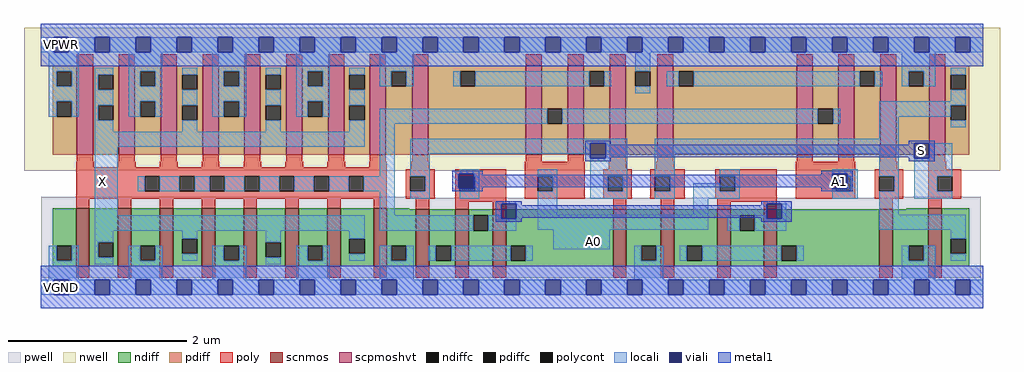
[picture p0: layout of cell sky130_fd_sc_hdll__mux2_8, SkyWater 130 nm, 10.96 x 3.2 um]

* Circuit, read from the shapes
.subckt sky130_fd_sc_hdll__mux2_8 A0 A1 S VGND VNB VPB VPWR X
XM1 X n1 VGND VNB sky130_fd_pr__nfet_01v8 w=0.65 l=0.15 m=8
XM2 n2 S VGND VNB sky130_fd_pr__nfet_01v8 w=0.64 l=0.15 m=2
XM3 n1 A1 n2 VNB sky130_fd_pr__nfet_01v8 w=0.64 l=0.15 m=2
XM4 n3 n4 VGND VNB sky130_fd_pr__nfet_01v8 w=0.64 l=0.15 m=2
XM5 n1 A0 n3 VNB sky130_fd_pr__nfet_01v8 w=0.64 l=0.15 m=2
XM6 n4 S VGND VNB sky130_fd_pr__nfet_01v8 w=0.65 l=0.15
XM7 X n1 VPWR VPB sky130_fd_pr__pfet_01v8_hvt w=1 l=0.18 m=8
XM8 n5 S VPWR VPB sky130_fd_pr__pfet_01v8_hvt w=1 l=0.18 m=2
XM9 n1 A0 n5 VPB sky130_fd_pr__pfet_01v8_hvt w=1 l=0.18 m=2
XM10 n6 n4 VPWR VPB sky130_fd_pr__pfet_01v8_hvt w=1 l=0.18 m=2
XM11 n1 A1 n6 VPB sky130_fd_pr__pfet_01v8_hvt w=1 l=0.18 m=2
XM12 n4 S VPWR VPB sky130_fd_pr__pfet_01v8_hvt w=1 l=0.18
.ends

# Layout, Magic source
magic
tech sky130A
magscale 1 2
<< nwell >>
rect -38 261 2154 582
<< pwell >>
rect 1 201 853 203
rect 1917 201 2111 203
rect 1 21 2111 201
rect 30 -17 64 21
<< scnmos >>
rect 79 47 109 177
rect 173 47 203 177
rect 267 47 297 177
rect 361 47 391 177
rect 455 47 485 177
rect 549 47 579 177
rect 643 47 673 177
rect 747 47 777 177
rect 842 47 872 175
rect 931 47 961 175
rect 1015 47 1045 175
rect 1285 47 1315 175
rect 1392 47 1422 175
rect 1519 47 1549 175
rect 1623 47 1653 175
rect 1883 47 1913 175
rect 1993 47 2023 177
<< scpmoshvt >>
rect 81 297 117 497
rect 175 297 211 497
rect 269 297 305 497
rect 363 297 399 497
rect 457 297 493 497
rect 551 297 587 497
rect 645 297 681 497
rect 739 297 775 497
rect 834 297 870 497
rect 1089 297 1125 497
rect 1183 297 1219 497
rect 1277 297 1313 497
rect 1384 297 1420 497
rect 1697 297 1733 497
rect 1791 297 1827 497
rect 1885 297 1921 497
rect 1995 297 2031 497
<< ndiff >>
rect 27 93 79 177
rect 27 59 35 93
rect 69 59 79 93
rect 27 47 79 59
rect 109 101 173 177
rect 109 67 129 101
rect 163 67 173 101
rect 109 47 173 67
rect 203 93 267 177
rect 203 59 223 93
rect 257 59 267 93
rect 203 47 267 59
rect 297 109 361 177
rect 297 75 317 109
rect 351 75 361 109
rect 297 47 361 75
rect 391 93 455 177
rect 391 59 411 93
rect 445 59 455 93
rect 391 47 455 59
rect 485 101 549 177
rect 485 67 505 101
rect 539 67 549 101
rect 485 47 549 67
rect 579 93 643 177
rect 579 59 599 93
rect 633 59 643 93
rect 579 47 643 59
rect 673 109 747 177
rect 673 75 693 109
rect 727 75 747 109
rect 673 47 747 75
rect 777 175 827 177
rect 1943 175 1993 177
rect 777 93 842 175
rect 777 59 787 93
rect 821 59 842 93
rect 777 47 842 59
rect 872 93 931 175
rect 872 59 887 93
rect 921 59 931 93
rect 872 47 931 59
rect 961 161 1015 175
rect 961 127 971 161
rect 1005 127 1015 161
rect 961 47 1015 127
rect 1045 93 1285 175
rect 1045 59 1055 93
rect 1089 59 1285 93
rect 1045 47 1285 59
rect 1315 93 1392 175
rect 1315 59 1348 93
rect 1382 59 1392 93
rect 1315 47 1392 59
rect 1422 93 1519 175
rect 1422 59 1451 93
rect 1485 59 1519 93
rect 1422 47 1519 59
rect 1549 161 1623 175
rect 1549 127 1569 161
rect 1603 127 1623 161
rect 1549 47 1623 127
rect 1653 93 1883 175
rect 1653 59 1663 93
rect 1697 59 1883 93
rect 1653 47 1883 59
rect 1913 93 1993 175
rect 1913 59 1949 93
rect 1983 59 1993 93
rect 1913 47 1993 59
rect 2023 109 2085 177
rect 2023 75 2043 109
rect 2077 75 2085 109
rect 2023 47 2085 75
<< pdiff >>
rect 27 485 81 497
rect 27 451 35 485
rect 69 451 81 485
rect 27 417 81 451
rect 27 383 35 417
rect 69 383 81 417
rect 27 297 81 383
rect 117 477 175 497
rect 117 443 129 477
rect 163 443 175 477
rect 117 409 175 443
rect 117 375 129 409
rect 163 375 175 409
rect 117 297 175 375
rect 211 485 269 497
rect 211 451 223 485
rect 257 451 269 485
rect 211 417 269 451
rect 211 383 223 417
rect 257 383 269 417
rect 211 297 269 383
rect 305 477 363 497
rect 305 443 317 477
rect 351 443 363 477
rect 305 409 363 443
rect 305 375 317 409
rect 351 375 363 409
rect 305 297 363 375
rect 399 485 457 497
rect 399 451 411 485
rect 445 451 457 485
rect 399 417 457 451
rect 399 383 411 417
rect 445 383 457 417
rect 399 297 457 383
rect 493 477 551 497
rect 493 443 505 477
rect 539 443 551 477
rect 493 409 551 443
rect 493 375 505 409
rect 539 375 551 409
rect 493 297 551 375
rect 587 485 645 497
rect 587 451 599 485
rect 633 451 645 485
rect 587 417 645 451
rect 587 383 599 417
rect 633 383 645 417
rect 587 297 645 383
rect 681 477 739 497
rect 681 443 693 477
rect 727 443 739 477
rect 681 409 739 443
rect 681 375 693 409
rect 727 375 739 409
rect 681 297 739 375
rect 775 485 834 497
rect 775 451 787 485
rect 821 451 834 485
rect 775 297 834 451
rect 870 485 1089 497
rect 870 451 942 485
rect 976 451 1089 485
rect 870 297 1089 451
rect 1125 401 1183 497
rect 1125 367 1137 401
rect 1171 367 1183 401
rect 1125 297 1183 367
rect 1219 485 1277 497
rect 1219 451 1231 485
rect 1265 451 1277 485
rect 1219 297 1277 451
rect 1313 485 1384 497
rect 1313 451 1335 485
rect 1369 451 1384 485
rect 1313 297 1384 451
rect 1420 485 1697 497
rect 1420 451 1432 485
rect 1466 451 1697 485
rect 1420 297 1697 451
rect 1733 401 1791 497
rect 1733 367 1745 401
rect 1779 367 1791 401
rect 1733 297 1791 367
rect 1827 485 1885 497
rect 1827 451 1839 485
rect 1873 451 1885 485
rect 1827 297 1885 451
rect 1921 485 1995 497
rect 1921 451 1949 485
rect 1983 451 1995 485
rect 1921 297 1995 451
rect 2031 477 2085 497
rect 2031 443 2043 477
rect 2077 443 2085 477
rect 2031 409 2085 443
rect 2031 375 2043 409
rect 2077 375 2085 409
rect 2031 297 2085 375
<< ndiffc >>
rect 35 59 69 93
rect 129 67 163 101
rect 223 59 257 93
rect 317 75 351 109
rect 411 59 445 93
rect 505 67 539 101
rect 599 59 633 93
rect 693 75 727 109
rect 787 59 821 93
rect 887 59 921 93
rect 971 127 1005 161
rect 1055 59 1089 93
rect 1348 59 1382 93
rect 1451 59 1485 93
rect 1569 127 1603 161
rect 1663 59 1697 93
rect 1949 59 1983 93
rect 2043 75 2077 109
<< pdiffc >>
rect 35 451 69 485
rect 35 383 69 417
rect 129 443 163 477
rect 129 375 163 409
rect 223 451 257 485
rect 223 383 257 417
rect 317 443 351 477
rect 317 375 351 409
rect 411 451 445 485
rect 411 383 445 417
rect 505 443 539 477
rect 505 375 539 409
rect 599 451 633 485
rect 599 383 633 417
rect 693 443 727 477
rect 693 375 727 409
rect 787 451 821 485
rect 942 451 976 485
rect 1137 367 1171 401
rect 1231 451 1265 485
rect 1335 451 1369 485
rect 1432 451 1466 485
rect 1745 367 1779 401
rect 1839 451 1873 485
rect 1949 451 1983 485
rect 2043 443 2077 477
rect 2043 375 2077 409
<< poly >>
rect 81 497 117 523
rect 175 497 211 523
rect 269 497 305 523
rect 363 497 399 523
rect 457 497 493 523
rect 551 497 587 523
rect 645 497 681 523
rect 739 497 775 523
rect 834 497 870 523
rect 1089 497 1125 523
rect 1183 497 1219 523
rect 1277 497 1313 523
rect 1384 497 1420 523
rect 1697 497 1733 523
rect 1791 497 1827 523
rect 1885 497 1921 523
rect 1995 497 2031 523
rect 81 282 117 297
rect 175 282 211 297
rect 269 282 305 297
rect 363 282 399 297
rect 457 282 493 297
rect 551 282 587 297
rect 645 282 681 297
rect 739 282 775 297
rect 834 282 870 297
rect 1089 282 1125 297
rect 1183 282 1219 297
rect 1277 282 1313 297
rect 1384 282 1420 297
rect 1697 282 1733 297
rect 1791 282 1827 297
rect 1885 282 1921 297
rect 1995 282 2031 297
rect 79 269 119 282
rect 173 269 213 282
rect 267 269 307 282
rect 361 269 401 282
rect 455 269 495 282
rect 549 269 589 282
rect 643 269 683 282
rect 737 269 777 282
rect 79 249 777 269
rect 832 265 872 282
rect 79 215 233 249
rect 267 215 311 249
rect 345 215 379 249
rect 413 215 457 249
rect 491 215 535 249
rect 569 215 613 249
rect 647 215 691 249
rect 725 215 777 249
rect 79 199 777 215
rect 819 249 884 265
rect 819 215 829 249
rect 863 215 884 249
rect 819 199 884 215
rect 931 249 1045 265
rect 931 215 941 249
rect 975 215 1045 249
rect 79 177 109 199
rect 173 177 203 199
rect 267 177 297 199
rect 361 177 391 199
rect 455 177 485 199
rect 549 177 579 199
rect 643 177 673 199
rect 747 177 777 199
rect 842 175 872 199
rect 931 192 1045 215
rect 1087 249 1221 282
rect 1275 265 1315 282
rect 1382 265 1422 282
rect 1087 215 1116 249
rect 1150 215 1221 249
rect 1087 199 1221 215
rect 1263 249 1327 265
rect 1263 215 1273 249
rect 1307 215 1327 249
rect 1263 199 1327 215
rect 1369 249 1446 265
rect 1369 215 1379 249
rect 1413 215 1446 249
rect 1369 199 1446 215
rect 1515 249 1653 265
rect 1515 215 1525 249
rect 1559 215 1653 249
rect 1515 199 1653 215
rect 1695 249 1829 282
rect 1883 265 1923 282
rect 1993 265 2033 282
rect 1695 215 1785 249
rect 1819 215 1829 249
rect 1695 199 1829 215
rect 1873 249 1937 265
rect 1873 215 1883 249
rect 1917 215 1937 249
rect 1873 199 1937 215
rect 1993 249 2067 265
rect 1993 215 2013 249
rect 2047 215 2067 249
rect 1993 199 2067 215
rect 931 175 961 192
rect 1015 175 1045 192
rect 1285 175 1315 199
rect 1392 175 1422 199
rect 1519 192 1653 199
rect 1519 175 1549 192
rect 1623 175 1653 192
rect 1883 175 1913 199
rect 1993 177 2023 199
rect 79 21 109 47
rect 173 21 203 47
rect 267 21 297 47
rect 361 21 391 47
rect 455 21 485 47
rect 549 21 579 47
rect 643 21 673 47
rect 747 21 777 47
rect 842 21 872 47
rect 931 21 961 47
rect 1015 21 1045 47
rect 1285 21 1315 47
rect 1392 21 1422 47
rect 1519 21 1549 47
rect 1623 21 1653 47
rect 1883 21 1913 47
rect 1993 21 2023 47
<< polycont >>
rect 233 215 267 249
rect 311 215 345 249
rect 379 215 413 249
rect 457 215 491 249
rect 535 215 569 249
rect 613 215 647 249
rect 691 215 725 249
rect 829 215 863 249
rect 941 215 975 249
rect 1116 215 1150 249
rect 1273 215 1307 249
rect 1379 215 1413 249
rect 1525 215 1559 249
rect 1785 215 1819 249
rect 1883 215 1917 249
rect 2013 215 2047 249
<< locali >>
rect 0 527 29 561
rect 63 527 121 561
rect 155 527 213 561
rect 247 527 305 561
rect 339 527 397 561
rect 431 527 489 561
rect 523 527 581 561
rect 615 527 673 561
rect 707 527 765 561
rect 799 527 857 561
rect 891 527 949 561
rect 983 527 1041 561
rect 1075 527 1133 561
rect 1167 527 1225 561
rect 1259 527 1317 561
rect 1351 527 1409 561
rect 1443 527 1501 561
rect 1535 527 1593 561
rect 1627 527 1685 561
rect 1719 527 1777 561
rect 1811 527 1869 561
rect 1903 527 1961 561
rect 1995 527 2053 561
rect 2087 527 2116 561
rect 18 485 85 527
rect 18 451 35 485
rect 69 451 85 485
rect 18 417 85 451
rect 18 383 35 417
rect 69 383 85 417
rect 121 477 163 493
rect 121 443 129 477
rect 121 409 163 443
rect 121 375 129 409
rect 197 485 273 527
rect 197 451 223 485
rect 257 451 273 485
rect 197 417 273 451
rect 197 383 223 417
rect 257 383 273 417
rect 317 477 351 493
rect 317 409 351 443
rect 121 349 163 375
rect 385 485 461 527
rect 385 451 411 485
rect 445 451 461 485
rect 385 417 461 451
rect 385 383 411 417
rect 445 383 461 417
rect 505 477 539 493
rect 505 409 539 443
rect 317 349 351 375
rect 573 485 649 527
rect 573 451 599 485
rect 633 451 649 485
rect 573 417 649 451
rect 573 383 599 417
rect 633 383 649 417
rect 693 477 727 493
rect 761 485 837 527
rect 1335 485 1369 527
rect 1933 485 2009 527
rect 761 451 787 485
rect 821 451 837 485
rect 926 451 942 485
rect 976 451 1231 485
rect 1265 451 1281 485
rect 1406 451 1432 485
rect 1466 451 1839 485
rect 1873 451 1889 485
rect 1933 451 1949 485
rect 1983 451 2009 485
rect 2043 477 2077 493
rect 693 409 727 443
rect 1335 435 1369 451
rect 2043 417 2077 443
rect 505 349 539 375
rect 1883 409 2077 417
rect 693 349 727 375
rect 121 315 727 349
rect 761 367 1137 401
rect 1171 367 1745 401
rect 1779 367 1795 401
rect 1883 383 2043 409
rect 121 161 173 315
rect 761 249 795 367
rect 1883 333 1927 383
rect 2043 359 2077 375
rect 217 215 233 249
rect 267 215 311 249
rect 345 215 379 249
rect 413 215 457 249
rect 491 215 535 249
rect 569 215 613 249
rect 647 215 691 249
rect 725 215 795 249
rect 761 161 795 215
rect 829 323 1317 333
rect 829 299 1234 323
rect 829 249 873 299
rect 1268 289 1317 323
rect 941 255 985 265
rect 863 215 873 249
rect 972 249 985 255
rect 829 199 873 215
rect 975 215 985 249
rect 941 199 985 215
rect 1116 249 1160 265
rect 1150 215 1160 249
rect 121 127 727 161
rect 761 127 971 161
rect 1005 153 1034 161
rect 1005 127 1068 153
rect 1116 163 1160 215
rect 1234 249 1317 289
rect 1234 215 1273 249
rect 1307 215 1317 249
rect 1234 199 1317 215
rect 1379 299 1927 333
rect 1379 249 1423 299
rect 1413 215 1423 249
rect 1525 249 1569 265
rect 1379 199 1423 215
rect 1465 215 1525 233
rect 1559 215 1569 249
rect 1465 199 1569 215
rect 1777 255 1834 265
rect 1811 249 1834 255
rect 1777 215 1785 221
rect 1819 215 1834 249
rect 1777 199 1834 215
rect 1883 249 1927 299
rect 1917 215 1927 249
rect 1465 163 1499 199
rect 1116 129 1499 163
rect 121 101 163 127
rect 18 59 35 93
rect 69 59 85 93
rect 18 17 85 59
rect 121 67 129 101
rect 317 109 351 127
rect 121 51 163 67
rect 197 59 223 93
rect 257 59 273 93
rect 505 101 539 127
rect 317 59 351 75
rect 385 59 411 93
rect 445 59 461 93
rect 197 17 273 59
rect 385 17 461 59
rect 693 109 727 127
rect 505 51 539 67
rect 573 59 599 93
rect 633 59 649 93
rect 693 59 727 75
rect 761 59 787 93
rect 821 59 837 93
rect 871 59 887 93
rect 921 59 1055 93
rect 1089 59 1105 93
rect 1151 85 1278 129
rect 1543 127 1569 161
rect 1603 153 1630 161
rect 1664 153 1674 187
rect 1603 127 1674 153
rect 1883 163 1927 215
rect 1995 289 2047 323
rect 1961 249 2047 289
rect 1961 215 2013 249
rect 1961 199 2047 215
rect 1883 129 2077 163
rect 2043 109 2077 129
rect 1332 59 1348 93
rect 1382 59 1398 93
rect 1435 59 1451 93
rect 1485 59 1663 93
rect 1697 59 1713 93
rect 1933 59 1949 93
rect 1983 59 2009 93
rect 2043 59 2077 75
rect 573 17 649 59
rect 761 17 837 59
rect 1332 17 1398 59
rect 1933 17 2009 59
rect 0 -17 29 17
rect 63 -17 121 17
rect 155 -17 213 17
rect 247 -17 305 17
rect 339 -17 397 17
rect 431 -17 489 17
rect 523 -17 581 17
rect 615 -17 673 17
rect 707 -17 765 17
rect 799 -17 857 17
rect 891 -17 949 17
rect 983 -17 1041 17
rect 1075 -17 1133 17
rect 1167 -17 1225 17
rect 1259 -17 1317 17
rect 1351 -17 1409 17
rect 1443 -17 1501 17
rect 1535 -17 1593 17
rect 1627 -17 1685 17
rect 1719 -17 1777 17
rect 1811 -17 1869 17
rect 1903 -17 1961 17
rect 1995 -17 2053 17
rect 2087 -17 2116 17
<< viali >>
rect 29 527 63 561
rect 121 527 155 561
rect 213 527 247 561
rect 305 527 339 561
rect 397 527 431 561
rect 489 527 523 561
rect 581 527 615 561
rect 673 527 707 561
rect 765 527 799 561
rect 857 527 891 561
rect 949 527 983 561
rect 1041 527 1075 561
rect 1133 527 1167 561
rect 1225 527 1259 561
rect 1317 527 1351 561
rect 1409 527 1443 561
rect 1501 527 1535 561
rect 1593 527 1627 561
rect 1685 527 1719 561
rect 1777 527 1811 561
rect 1869 527 1903 561
rect 1961 527 1995 561
rect 2053 527 2087 561
rect 1234 289 1268 323
rect 938 249 972 255
rect 938 221 941 249
rect 941 221 972 249
rect 1034 153 1068 187
rect 1777 249 1811 255
rect 1777 221 1785 249
rect 1785 221 1811 249
rect 1630 153 1664 187
rect 1961 289 1995 323
rect 29 -17 63 17
rect 121 -17 155 17
rect 213 -17 247 17
rect 305 -17 339 17
rect 397 -17 431 17
rect 489 -17 523 17
rect 581 -17 615 17
rect 673 -17 707 17
rect 765 -17 799 17
rect 857 -17 891 17
rect 949 -17 983 17
rect 1041 -17 1075 17
rect 1133 -17 1167 17
rect 1225 -17 1259 17
rect 1317 -17 1351 17
rect 1409 -17 1443 17
rect 1501 -17 1535 17
rect 1593 -17 1627 17
rect 1685 -17 1719 17
rect 1777 -17 1811 17
rect 1869 -17 1903 17
rect 1961 -17 1995 17
rect 2053 -17 2087 17
<< metal1 >>
rect 0 561 2116 592
rect 0 527 29 561
rect 63 527 121 561
rect 155 527 213 561
rect 247 527 305 561
rect 339 527 397 561
rect 431 527 489 561
rect 523 527 581 561
rect 615 527 673 561
rect 707 527 765 561
rect 799 527 857 561
rect 891 527 949 561
rect 983 527 1041 561
rect 1075 527 1133 561
rect 1167 527 1225 561
rect 1259 527 1317 561
rect 1351 527 1409 561
rect 1443 527 1501 561
rect 1535 527 1593 561
rect 1627 527 1685 561
rect 1719 527 1777 561
rect 1811 527 1869 561
rect 1903 527 1961 561
rect 1995 527 2053 561
rect 2087 527 2116 561
rect 0 496 2116 527
rect 1222 323 1280 329
rect 1222 289 1234 323
rect 1268 320 1280 323
rect 1949 323 2007 329
rect 1949 320 1961 323
rect 1268 292 1961 320
rect 1268 289 1280 292
rect 1222 283 1280 289
rect 1949 289 1961 292
rect 1995 289 2007 323
rect 1949 283 2007 289
rect 924 255 992 261
rect 924 221 938 255
rect 972 252 992 255
rect 1753 255 1823 261
rect 1753 252 1777 255
rect 972 224 1777 252
rect 972 221 992 224
rect 924 215 992 221
rect 1753 221 1777 224
rect 1811 221 1823 255
rect 1753 215 1823 221
rect 1022 187 1080 193
rect 1022 153 1034 187
rect 1068 184 1080 187
rect 1618 187 1686 193
rect 1618 184 1630 187
rect 1068 156 1630 184
rect 1068 153 1080 156
rect 1022 147 1080 153
rect 1618 153 1630 156
rect 1664 153 1686 187
rect 1618 147 1686 153
rect 0 17 2116 48
rect 0 -17 29 17
rect 63 -17 121 17
rect 155 -17 213 17
rect 247 -17 305 17
rect 339 -17 397 17
rect 431 -17 489 17
rect 523 -17 581 17
rect 615 -17 673 17
rect 707 -17 765 17
rect 799 -17 857 17
rect 891 -17 949 17
rect 983 -17 1041 17
rect 1075 -17 1133 17
rect 1167 -17 1225 17
rect 1259 -17 1317 17
rect 1351 -17 1409 17
rect 1443 -17 1501 17
rect 1535 -17 1593 17
rect 1627 -17 1685 17
rect 1719 -17 1777 17
rect 1811 -17 1869 17
rect 1903 -17 1961 17
rect 1995 -17 2053 17
rect 2087 -17 2116 17
rect 0 -48 2116 -17
<< labels >>
flabel metal1 s 1961 289 1995 323 0 FreeSans 200 0 0 0 S
port 3 nsew signal input
flabel metal1 s 1777 221 1811 255 0 FreeSans 200 0 0 0 A1
port 2 nsew signal input
flabel metal1 s 30 527 64 561 0 FreeSans 200 0 0 0 VPWR
port 7 nsew power bidirectional
flabel metal1 s 30 -17 64 17 0 FreeSans 200 0 0 0 VGND
port 4 nsew ground bidirectional
flabel nwell s 30 527 64 561 0 FreeSans 200 0 0 0 VPB
port 6 nsew power bidirectional
flabel pwell s 30 -17 64 17 0 FreeSans 200 0 0 0 VNB
port 5 nsew ground bidirectional
flabel locali s 1225 85 1259 119 0 FreeSans 200 0 0 0 A0
port 1 nsew signal input
flabel locali s 121 221 155 255 0 FreeSans 200 0 0 0 X
port 8 nsew signal output
rlabel comment s 0 0 0 0 4 mux2_8
<< properties >>
string LEFsite unithd
string LEFclass CORE
string FIXED_BBOX 0 0 2116 544
string GDS_FILE $PDKPATH/libs.ref/sky130_fd_sc_hdll/gds/sky130_fd_sc_hdll.gds
string LEFsymmetry X Y R90
string GDS_END 1145392
string GDS_START 1131932
string LEFproperties maskLayoutSubType "abstract" prCellType "standard" originalViewName "layout"
<< end >>
